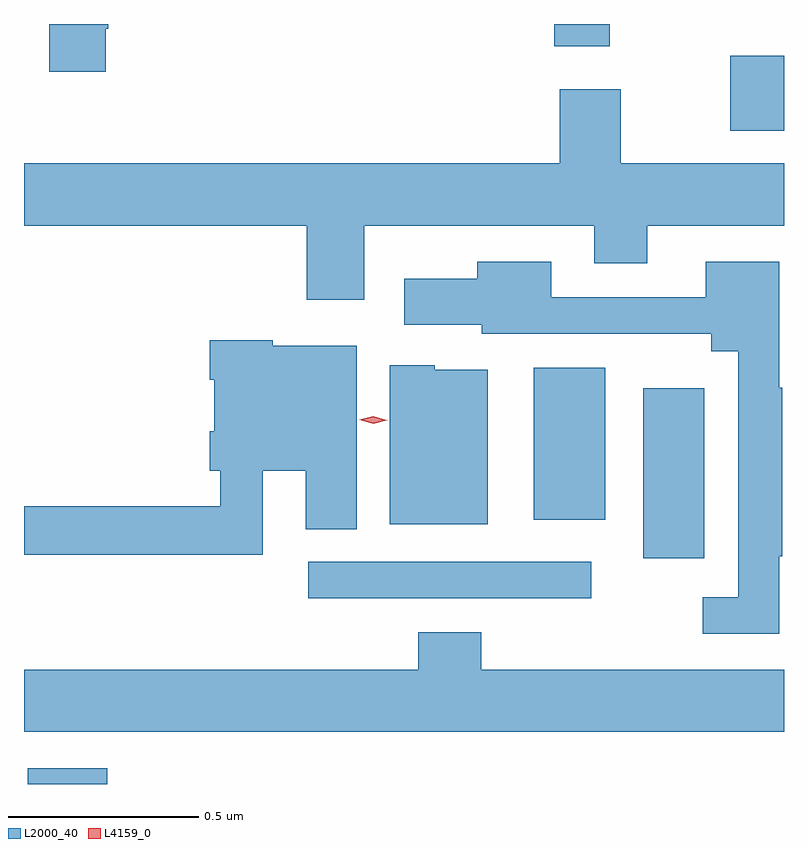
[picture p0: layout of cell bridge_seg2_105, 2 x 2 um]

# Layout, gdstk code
import gdstk
lib = gdstk.Library(unit=1e-6, precision=1e-09)
def R(c, l, rs):  # rectangles x0, y0, x1, y1
    for r in rs: c.add(gdstk.rectangle(r[:2], r[2:], *l))
def P(c, l, *ps):  # polygons
    for p in ps: c.add(gdstk.Polygon(p, *l))
L2000_40 = (2000, 40)
L4159_0 = (4159, 0)

bridge_seg2_105 = lib.new_cell('bridge_seg2_105')
R(bridge_seg2_105, L2000_40, [(510.285,608.871,510.494,608.913), (511.023,609.36,511.768,609.456), (511.904,609.465,512.065,609.913), (511.616,609.566,511.804,609.967), (512.134,610.59,512.275,610.788), (511.67,610.812,511.816,610.871)])
P(bridge_seg2_105, L2000_40, [(510.49,610.858),(510.497,610.858),(510.497,610.871),(510.341,610.871),(510.341,610.746),(510.49,610.746)],
  [(511.171,610.34),(511.775,610.34),(511.775,610.241),(511.915,610.241),(511.915,610.34),(512.275,610.34),(512.275,610.504),(511.845,610.504),(511.845,610.699),(511.685,610.699),(511.685,610.504),(510.275,610.504),(510.275,610.34),(511.019,610.34),(511.019,610.146),(511.171,610.146)],
  [(512.263,609.47),(512.27,609.47),(512.27,609.914),(512.263,609.914),(512.263,610.246),(512.069,610.246),(512.069,610.152),(511.663,610.152),(511.663,610.246),(511.468,610.246),(511.468,610.201),(511.275,610.201),(511.275,610.079),(511.479,610.079),(511.479,610.056),(512.084,610.056),(512.084,610.01),(512.154,610.01),(512.154,609.363),(512.061,609.363),(512.061,609.267),(512.263,609.267)],
  [(510.903,609.695),(511.016,609.695),(511.016,609.541),(511.15,609.541),(511.15,610.024),(510.93,610.024),(510.93,610.039),(510.764,610.039),(510.764,609.935),(510.776,609.935),(510.776,609.799),(510.764,609.799),(510.764,609.695),(510.791,609.695),(510.791,609.602),(510.275,609.602),(510.275,609.474),(510.903,609.474)],
  [(511.495,609.961),(511.356,609.961),(511.356,609.973),(511.238,609.973),(511.238,609.554),(511.495,609.554)],
  [(512.275,609.172),(511.478,609.172),(511.478,609.271),(511.313,609.271),(511.313,609.172),(510.275,609.172),(510.275,609.008),(512.275,609.008)])
P(bridge_seg2_105, L4159_0, [(511.194,609.819),(511.157,609.829),(511.157,609.829),(511.157,609.83),(511.194,609.839),(511.23,609.828),(511.231,609.828),(511.23,609.828)])

lib.write_gds('bridge_seg2_105.gds')
